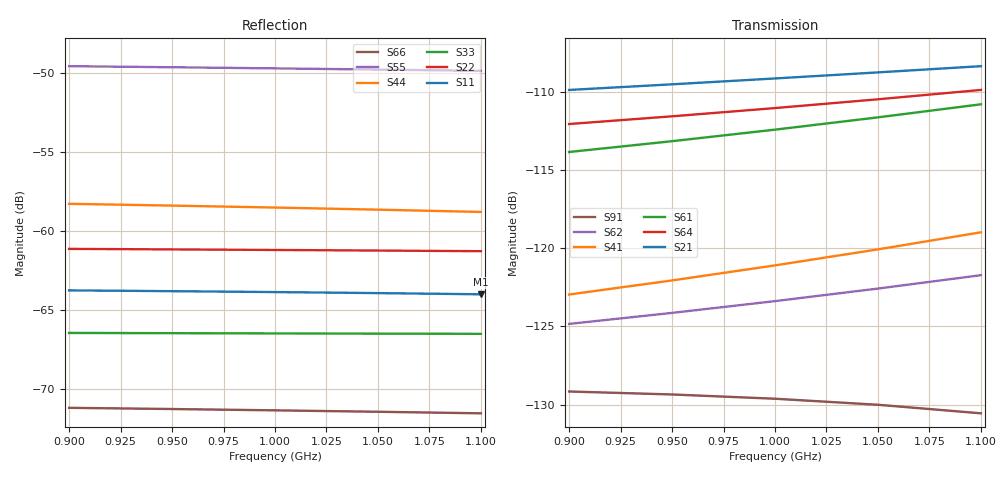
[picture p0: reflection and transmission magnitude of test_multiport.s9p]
! Touchstone file from project test_multiport
! Exported from HFSS 2019.2.0
!Data is not renormalized
# GHZ S MA
! Modal data exported
! Port[1] = 1:1
! Port[2] = 2:1
! Port[3] = 3:1
! Port[4] = 4:1
! Port[5] = 5:1
! Port[6] = 6:1
! Port[7] = 7:1
! Port[8] = 8:1
! Port[9] = 9:1
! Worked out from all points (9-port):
!   5 points, 900 MHz to 1.1 GHz, reference per port
!   strongest paths, dB at 900 MHz, 950 MHz, 1 GHz, 1.05 GHz, 1.1 GHz:
!     S21: -109.9, -109.5, -109.1, -108.7, -108.3
!     S64: -112.0, -111.5, -111.0, -110.4, -109.8
!     S61: -113.8, -113.1, -112.4, -111.6, -110.8
!     S41: -123.0, -122.1, -121.1, -120.1, -119.0
!     S62: -124.8, -124.1, -123.4, -122.6, -121.7
!     S91: -129.2, -129.4, -129.6, -130.0, -130.6
!   lowest |S11| = -64.0 dB at 1.1 GHz (marker M1), VSWR 1.00
!   |S11| at or under -10 dB: start of sweep to end of sweep
